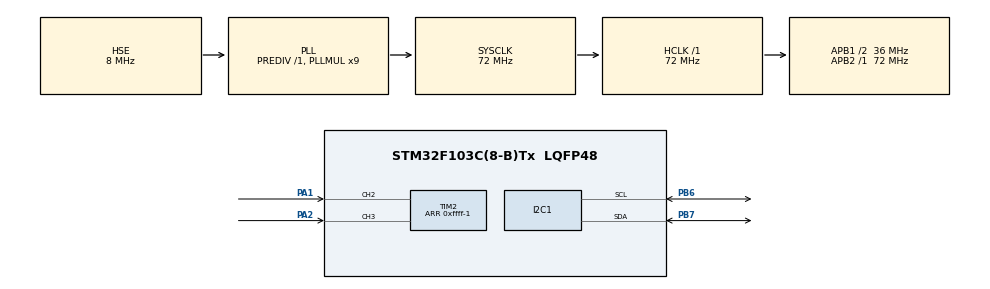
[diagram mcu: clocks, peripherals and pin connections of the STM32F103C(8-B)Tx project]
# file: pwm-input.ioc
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Mcu.Family=STM32F1
Mcu.Name=STM32F103C(8-B)Tx
Mcu.Package=LQFP48
NVIC.PriorityGroup=NVIC_PRIORITYGROUP_4
NVIC.TIM2_IRQn=true\:0\:0\:false\:false\:true\:true\:true
PA1.Signal=S_TIM2_CH2
PA13.Mode=Serial_Wire
PA13.Signal=SYS_JTMS-SWDIO
PA14.Mode=Serial_Wire
PA14.Signal=SYS_JTCK-SWCLK
PA2.Signal=S_TIM2_CH3
PB6.Mode=I2C
PB6.Signal=I2C1_SCL
PB7.Mode=I2C
PB7.Signal=I2C1_SDA
PD0-OSC_IN.Mode=HSE-External-Oscillator
PD0-OSC_IN.Signal=RCC_OSC_IN
PD1-OSC_OUT.Mode=HSE-External-Oscillator
PD1-OSC_OUT.Signal=RCC_OSC_OUT
ProjectManager.HeapSize=0x200
ProjectManager.StackSize=0x400
ProjectManager.TargetToolchain=SW4STM32
RCC.AHBFreq_Value=72000000
RCC.APB1CLKDivider=RCC_HCLK_DIV2
RCC.APB1Freq_Value=36000000
RCC.APB1TimFreq_Value=72000000
RCC.APB2Freq_Value=72000000
RCC.APB2TimFreq_Value=72000000
RCC.HCLKFreq_Value=72000000
RCC.PLLMUL=RCC_PLL_MUL9
RCC.PLLSourceVirtual=RCC_PLLSOURCE_HSE
RCC.SYSCLKFreq_VALUE=72000000
RCC.SYSCLKSource=RCC_SYSCLKSOURCE_PLLCLK
RCC.USBFreq_Value=72000000
SH.S_TIM2_CH2.0=TIM2_CH2,Input_Capture2_from_TI2
SH.S_TIM2_CH2.1=TIM2_CH2,TriggerSource_TI2FP2
SH.S_TIM2_CH3.0=TIM2_CH3,Input_Capture3_from_TI3
TIM2.Channel-Input_Capture2_from_TI2=TIM_CHANNEL_2
TIM2.Channel-Input_Capture3_from_TI3=TIM_CHANNEL_3
TIM2.ICPolarity_CH3=TIM_INPUTCHANNELPOLARITY_FALLING
TIM2.Period=0xffff-1
VP_TIM2_VS_ControllerModeReset.Mode=Reset Mode
board=custom

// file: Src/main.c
/* USER CODE BEGIN Header */
/**
  ******************************************************************************
  * @file           : main.c
  * @brief          : Main program body
  ******************************************************************************
  * @attention
  *
  * <h2><center>&copy; Copyright (c) 2019 STMicroelectronics.
  * All rights reserved.</center></h2>
  *
  * This software component is licensed by ST under BSD 3-Clause license,
  * the "License"; You may not use this file except in compliance with the
  * License. You may obtain a copy of the License at:
  *                        opensource.org/licenses/BSD-3-Clause
  *
  ******************************************************************************
  */
/* USER CODE END Header */

#include "main.h"

/* USER CODE BEGIN Includes */
#include "i2c-lcd.h"
/* USER CODE END Includes */

I2C_HandleTypeDef hi2c1;

TIM_HandleTypeDef htim2;

void SystemClock_Config(void);
static void MX_GPIO_Init(void);
static void MX_TIM2_Init(void);
static void MX_I2C1_Init(void);

/* USER CODE BEGIN 0 */

uint32_t IC_Val1 = 0;
uint32_t IC_Val2 = 0;
uint32_t Frequency = 0;
uint32_t Duty_Cycle = 0;

// write the input capture callback

void HAL_TIM_IC_CaptureCallback(TIM_HandleTypeDef *htim)
{
	if (htim->Channel == HAL_TIM_ACTIVE_CHANNEL_2)  // rising edge interrupt
	{
		// read captured value
		IC_Val1 = HAL_TIM_ReadCapturedValue(htim, TIM_CHANNEL_2);  // first value

		if (IC_Val1 != 0)  // if the value is not 0
		{
			// read second value
			IC_Val2 = HAL_TIM_ReadCapturedValue(htim, TIM_CHANNEL_3); // falling edge value

			// calculate Duty cycle

			Duty_Cycle = (IC_Val2*100/IC_Val1);

			// calculate frequency

			Frequency = (2*HAL_RCC_GetPCLK1Freq()/IC_Val1);
			// As my timer2 clock is 2X the PCLK1 CLOCK that's why X2.
		}

		else
		{
			Duty_Cycle = 0;
			Frequency = 0;
		}
	}
}

/* USER CODE END 0 */

int main(void)
{

  /* MCU Configuration--------------------------------------------------------*/

  /* Reset of all peripherals, Initializes the Flash interface and the Systick. */
  HAL_Init();

  /* Configure the system clock */
  SystemClock_Config();

  /* Initialize all configured peripherals */
  MX_GPIO_Init();
  MX_TIM2_Init();
  MX_I2C1_Init();
  /* USER CODE BEGIN 2 */

  lcd_init ();

  // start the IC in interrupt mode

  HAL_TIM_IC_Start_IT(&htim2, TIM_CHANNEL_2);
  HAL_TIM_IC_Start_IT(&htim2, TIM_CHANNEL_3);

  /* USER CODE END 2 */

  /* Infinite loop */
  while (1)
  {

    /* USER CODE BEGIN 3 */

	  // Print these values on the LCD

	  lcd_send_cmd (0x80);
	  lcd_send_string ("FREQ= ");
	  lcd_send_data ((Frequency/100000)+48);  // print 6th digit
	  lcd_send_data (((Frequency%100000)/10000)+48); // print 5th digit
	  lcd_send_data (((Frequency%10000)/1000)+48); // print 4th digit
	  lcd_send_data (((Frequency%1000)/100)+48); // print 3rd digit
	  lcd_send_data (((Frequency%100)/10)+48); // print 2nd digit
	  lcd_send_data (((Frequency%10))+48); // print 1st digit

	  lcd_send_cmd (0xc0);
	  lcd_send_string("DUTY= ");
	  lcd_send_data ((Duty_Cycle/100)+48);  // print 3rd digit
	  lcd_send_data (((Duty_Cycle%100)/10)+48);  // print 2nd digit
	  lcd_send_data ((Duty_Cycle%10)+48);  // print 1st digit
	  lcd_send_data('%');

	  HAL_Delay (10);  // wait for some time
  }
  /* USER CODE END 3 */
}

void SystemClock_Config(void)
{
  RCC_OscInitTypeDef RCC_OscInitStruct = {0};
  RCC_ClkInitTypeDef RCC_ClkInitStruct = {0};

  /** Initializes the CPU, AHB and APB busses clocks
  */
  RCC_OscInitStruct.OscillatorType = RCC_OSCILLATORTYPE_HSE;
  RCC_OscInitStruct.HSEState = RCC_HSE_ON;
  RCC_OscInitStruct.HSEPredivValue = RCC_HSE_PREDIV_DIV1;
  RCC_OscInitStruct.HSIState = RCC_HSI_ON;
  RCC_OscInitStruct.PLL.PLLState = RCC_PLL_ON;
  RCC_OscInitStruct.PLL.PLLSource = RCC_PLLSOURCE_HSE;
  RCC_OscInitStruct.PLL.PLLMUL = RCC_PLL_MUL9;
  if (HAL_RCC_OscConfig(&RCC_OscInitStruct) != HAL_OK)
  {
    Error_Handler();
  }
  /** Initializes the CPU, AHB and APB busses clocks
  */
  RCC_ClkInitStruct.ClockType = RCC_CLOCKTYPE_HCLK|RCC_CLOCKTYPE_SYSCLK
                              |RCC_CLOCKTYPE_PCLK1|RCC_CLOCKTYPE_PCLK2;
  RCC_ClkInitStruct.SYSCLKSource = RCC_SYSCLKSOURCE_PLLCLK;
  RCC_ClkInitStruct.AHBCLKDivider = RCC_SYSCLK_DIV1;
  RCC_ClkInitStruct.APB1CLKDivider = RCC_HCLK_DIV2;
  RCC_ClkInitStruct.APB2CLKDivider = RCC_HCLK_DIV1;

  if (HAL_RCC_ClockConfig(&RCC_ClkInitStruct, FLASH_LATENCY_2) != HAL_OK)
  {
    Error_Handler();
  }
}

static void MX_I2C1_Init(void)
{

  hi2c1.Instance = I2C1;
  hi2c1.Init.ClockSpeed = 100000;
  hi2c1.Init.DutyCycle = I2C_DUTYCYCLE_2;
  hi2c1.Init.OwnAddress1 = 0;
  hi2c1.Init.AddressingMode = I2C_ADDRESSINGMODE_7BIT;
  hi2c1.Init.DualAddressMode = I2C_DUALADDRESS_DISABLE;
  hi2c1.Init.OwnAddress2 = 0;
  hi2c1.Init.GeneralCallMode = I2C_GENERALCALL_DISABLE;
  hi2c1.Init.NoStretchMode = I2C_NOSTRETCH_DISABLE;
  if (HAL_I2C_Init(&hi2c1) != HAL_OK)
  {
    Error_Handler();
  }

}

static void MX_TIM2_Init(void)
{

  TIM_SlaveConfigTypeDef sSlaveConfig = {0};
  TIM_MasterConfigTypeDef sMasterConfig = {0};
  TIM_IC_InitTypeDef sConfigIC = {0};

  htim2.Instance = TIM2;
  htim2.Init.Prescaler = 0;
  htim2.Init.CounterMode = TIM_COUNTERMODE_UP;
  htim2.Init.Period = 0xffff-1;
  htim2.Init.ClockDivision = TIM_CLOCKDIVISION_DIV1;
  htim2.Init.AutoReloadPreload = TIM_AUTORELOAD_PRELOAD_DISABLE;
  if (HAL_TIM_Base_Init(&htim2) != HAL_OK)
  {
    Error_Handler();
  }
  if (HAL_TIM_IC_Init(&htim2) != HAL_OK)
  {
    Error_Handler();
  }
  sSlaveConfig.SlaveMode = TIM_SLAVEMODE_RESET;
  sSlaveConfig.InputTrigger = TIM_TS_TI2FP2;
  sSlaveConfig.TriggerPolarity = TIM_INPUTCHANNELPOLARITY_RISING;
  sSlaveConfig.TriggerFilter = 0;
  if (HAL_TIM_SlaveConfigSynchronization(&htim2, &sSlaveConfig) != HAL_OK)
  {
    Error_Handler();
  }
  sMasterConfig.MasterOutputTrigger = TIM_TRGO_RESET;
  sMasterConfig.MasterSlaveMode = TIM_MASTERSLAVEMODE_DISABLE;
  if (HAL_TIMEx_MasterConfigSynchronization(&htim2, &sMasterConfig) != HAL_OK)
  {
    Error_Handler();
  }
  sConfigIC.ICPolarity = TIM_INPUTCHANNELPOLARITY_RISING;
  sConfigIC.ICSelection = TIM_ICSELECTION_DIRECTTI;
  sConfigIC.ICPrescaler = TIM_ICPSC_DIV1;
  sConfigIC.ICFilter = 0;
  if (HAL_TIM_IC_ConfigChannel(&htim2, &sConfigIC, TIM_CHANNEL_2) != HAL_OK)
  {
    Error_Handler();
  }
  sConfigIC.ICPolarity = TIM_INPUTCHANNELPOLARITY_FALLING;
  if (HAL_TIM_IC_ConfigChannel(&htim2, &sConfigIC, TIM_CHANNEL_3) != HAL_OK)
  {
    Error_Handler();
  }

}

static void MX_GPIO_Init(void)
{

  /* GPIO Ports Clock Enable */
  __HAL_RCC_GPIOD_CLK_ENABLE();
  __HAL_RCC_GPIOA_CLK_ENABLE();
  __HAL_RCC_GPIOB_CLK_ENABLE();

}

void Error_Handler(void)
{
}

/************************ (C) COPYRIGHT STMicroelectronics *****END OF FILE****/
